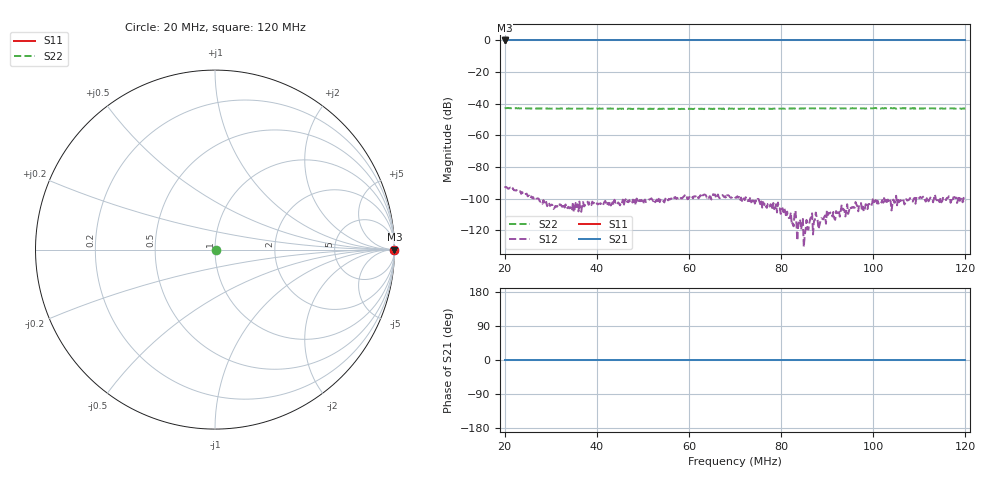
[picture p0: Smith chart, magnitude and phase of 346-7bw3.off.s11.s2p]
! Anritsu VNA Master:  Model: MS2036C/10/77
! SN:  1601066
! /card0/usr/346-7bw3.off.s11.s2p
! Existing Calibration Information:
! TYPE:  Current Settings,  Active Cal Settings
! TIME:  06/21/2018 09:58:51 AM,  06/21/2018 09:52:09 AM
! INTERNAL TEMP:  48.3 C,  48.5 C
! # POINTS:  500,  500
! START FREQ:  20.000 MHz,  20.000 MHz
! STOP FREQ:  120.000 MHz,  120.000 MHz
! SOURCE POWER:  High,  High
! IFBW:  50 Hz,  50 Hz
! AVG FACTOR:  1 ,  1
! REF PLANE 1:  0 mm,  0 mm
! REF PLANE 2:  0 mm,  0 mm
! CAL TYPE:  Full S22,  Full S22
! CAL METHOD:  SOLT,  SOLT
! CAL LINE TYPE:  Coax,  Coax
! DUT PORT 1:  K-Conn(M),  K-Conn(M)
! DUT PORT 2:  K-Conn(M),  K-Conn(M)
! CAL STATUS:  OK: Accuracy High,  --
# GHZ S DB R 50.0
! FREQ.GHZ  S11DB  S11A  S21DB  S21A  S12DB  S12A  S22DB  S22A
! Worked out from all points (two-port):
!   500 points, 20 MHz to 120 MHz, reference 50 ohm
!   highest |S21| = 0.00 dB at 20 MHz (marker M1); lowest = 0.0 dB at 20 MHz (marker M2)
!   |S21| within 3 dB of the highest: start of sweep to end of sweep
!   lowest |S11| = 0.0 dB at 20 MHz (marker M3)
!   |S11| at or under -10 dB: nowhere
!   |S22| runs from -43.4 to -42.6 dB; largest |S21 - S12| = 1
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0.02  0.00 0.0  0.00 0.0  -93.11 -48.8  -42.83 -24.5
0.03683367  0.00 0.0  0.00 0.0  -104.34 133.7  -43.07 -16.7
0.04264529  0.00 0.0  0.00 0.0  -103.88 97.8  -43.07 -14.9
0.05346693  0.00 0.0  0.00 0.0  -100.06 62.9  -43.20 -15.7
0.06549098  0.00 0.0  0.00 0.0  -97.69 46.6  -43.15 -18.3
0.06649299  0.00 0.0  0.00 0.0  -99.12 41.5  -43.07 -17.8
0.06809619  0.00 0.0  0.00 0.0  -99.87 43.4  -43.24 -18.5
0.0690982  0.00 0.0  0.00 0.0  -99.39 31.2  -43.11 -18.1
0.0701002  0.00 0.0  0.00 0.0  -99.41 27.0  -43.19 -18.1
0.07691383  0.00 0.0  0.00 0.0  -105.81 7.5  -43.14 -19.7
0.07791583  0.00 0.0  0.00 0.0  -104.12 -12.1  -43.27 -19.8
0.07891784  0.00 0.0  0.00 0.0  -103.49 -32.2  -42.97 -19.8
0.08673347  0.00 0.0  0.00 0.0  -109.21 81.9  -42.85 -20.6
0.09815631  0.00 0.0  0.00 0.0  -106.65 79.2  -42.96 -22.2
0.1007615  0.00 0.0  0.00 0.0  -103.85 72.1  -42.88 -22.4
0.1019639  0.00 0.0  0.00 0.0  -100.87 94.0  -42.80 -23.5
0.1033667  0.00 0.0  0.00 0.0  -101.54 56.3  -42.98 -22.2
0.1075751  0.00 0.0  0.00 0.0  -100.99 86.5  -42.83 -23.2
0.1103808  0.00 0.0  0.00 0.0  -99.43 58.5  -42.80 -24.5
0.1127856  0.00 0.0  0.00 0.0  -100.05 72.1  -42.88 -23.9
0.1181964  0.00 0.0  0.00 0.0  -102.72 52.3  -43.05 -23.6
0.12  0.00 0.0  0.00 0.0  -101.52 36.1  -42.96 -25.7
